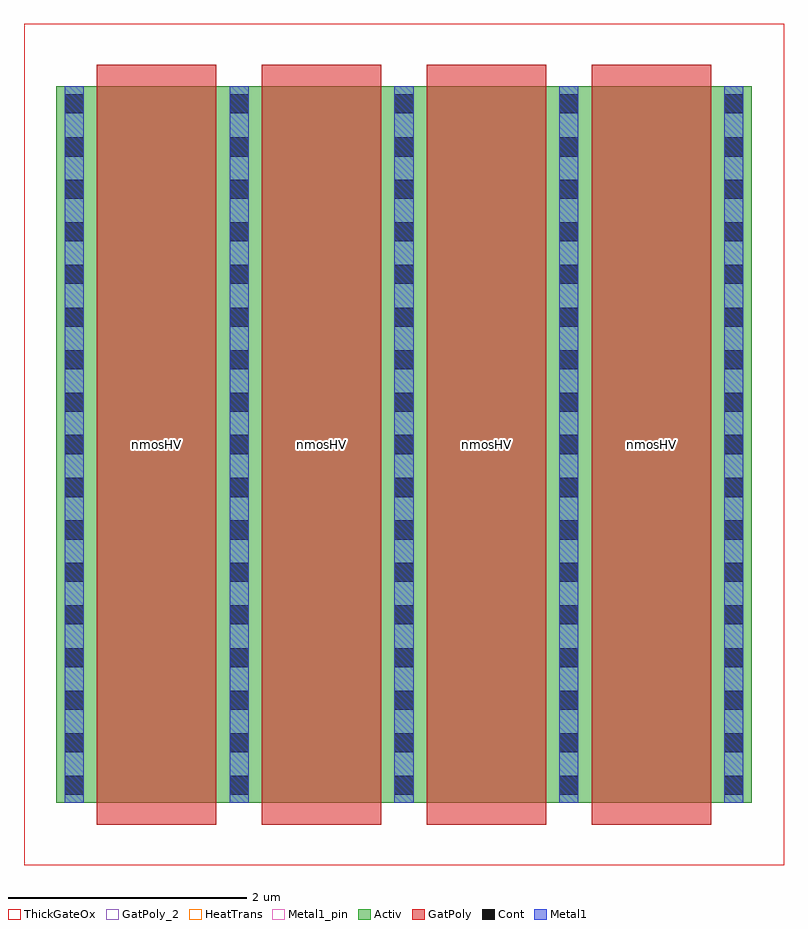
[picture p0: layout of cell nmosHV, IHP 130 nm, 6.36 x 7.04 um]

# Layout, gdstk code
import gdstk
lib = gdstk.Library(unit=1e-6, precision=5e-09)
def R(c, l, rs):  # rectangles x0, y0, x1, y1
    for r in rs: c.add(gdstk.rectangle(r[:2], r[2:], *l))
def A(c, l, x, y, w, h, nx, ny, dx, dy):  # array of equal rectangles
    R(c, l, [(x+i*dx, y+j*dy, x+i*dx+w, y+j*dy+h) for i in range(nx) for j in range(ny)])
Activ = (1, 0)
GatPoly = (5, 0)
GatPoly_2 = (5, 2)
Cont = (6, 0)
Metal1 = (8, 0)
Metal1_pin = (8, 2)
ThickGateOx = (44, 0)
HeatTrans = (51, 0)

nmoshv = lib.new_cell('nmosHV')
A(nmoshv, Activ, 0, 0, 0.3, 0.3, 5, 1, 1.38, 0)
R(nmoshv, Activ, [(0,0,5.82,6)])
A(nmoshv, GatPoly, 0.34, -0.18, 1, 6.36, 4, 1, 1.38, 0)
R(nmoshv, GatPoly_2, [(0.34,-0.18,1.34,6.18)])
A(nmoshv, Cont, 0.07, 0.07, 0.16, 0.16, 5, 4, 1.38, 0.355)
A(nmoshv, Cont, 0.07, 1.495, 0.16, 0.16, 5, 4, 1.38, 0.355)
A(nmoshv, Cont, 0.07, 2.92, 0.16, 0.16, 5, 4, 1.38, 0.355)
A(nmoshv, Cont, 0.07, 4.345, 0.16, 0.16, 5, 4, 1.38, 0.355)
A(nmoshv, Cont, 0.07, 5.77, 0.16, 0.16, 5, 1, 1.38, 0)
A(nmoshv, Metal1, 0.07, 0, 0.16, 6, 5, 1, 1.38, 0)
R(nmoshv, Metal1_pin, [(0.07,0,0.23,6), (1.45,0,1.61,6)])
R(nmoshv, ThickGateOx, [(-0.27,-0.52,6.09,6.52)])
A(nmoshv, HeatTrans, 0.34, -0.18, 1, 6.36, 4, 1, 1.38, 0)
nmoshv.add(gdstk.Label('nmosHV', (0.84,3), layer=63, texttype=0))
nmoshv.add(gdstk.Label('nmosHV', (0.84,3), layer=51, texttype=0))
nmoshv.add(gdstk.Label('nmosHV', (2.22,3), layer=51, texttype=0))
nmoshv.add(gdstk.Label('nmosHV', (3.6,3), layer=51, texttype=0))
nmoshv.add(gdstk.Label('nmosHV', (4.98,3), layer=51, texttype=0))

lib.write_gds('nmosHV.gds')
